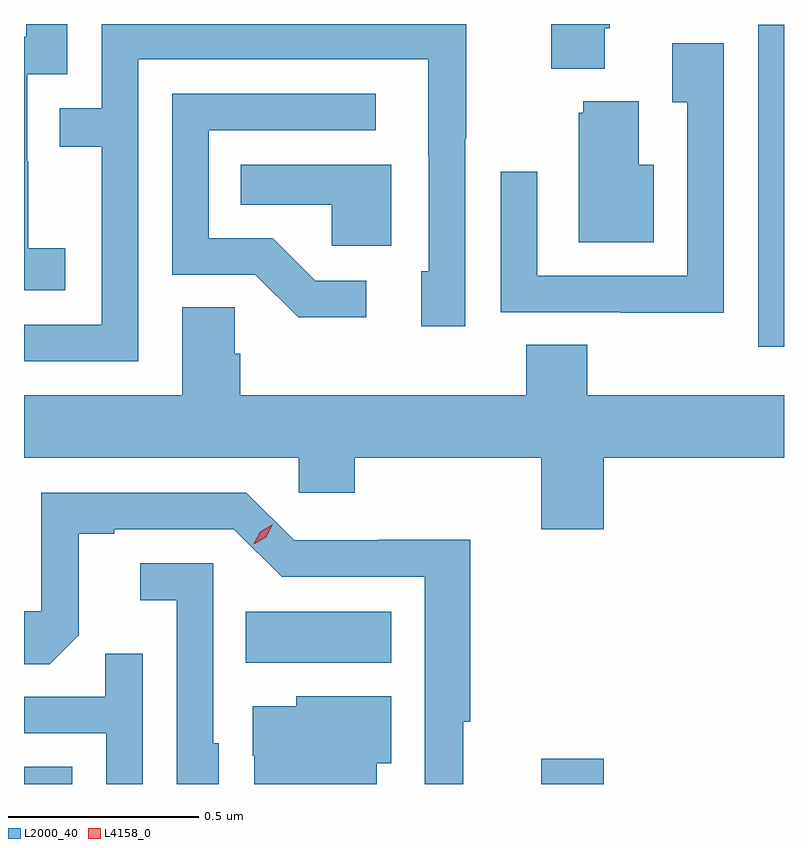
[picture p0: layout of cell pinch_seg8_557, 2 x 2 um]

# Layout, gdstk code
import gdstk
lib = gdstk.Library(unit=1e-6, precision=1e-09)
def R(c, l, rs):  # rectangles x0, y0, x1, y1
    for r in rs: c.add(gdstk.rectangle(r[:2], r[2:], *l))
def P(c, l, *ps):  # polygons
    for p in ps: c.add(gdstk.Polygon(p, *l))
L2000_40 = (2000, 40)
L4158_0 = (4158, 0)

pinch_seg8_557 = lib.new_cell('pinch_seg8_557')
R(pinch_seg8_557, L2000_40, [(115.695,1108.981,115.822,1109.026), (117.056,1108.981,117.22,1109.047), (116.278,1109.3,116.662,1109.434), (117.627,1110.132,117.695,1110.979)])
P(pinch_seg8_557, L2000_40, [(117.223,1110.97),(117.236,1110.97),(117.236,1110.981),(117.083,1110.981),(117.083,1110.863),(117.223,1110.863)],
  [(115.995,1110.888),(116.759,1110.888),(116.759,1110.634),(116.76,1110.634),(116.76,1110.33),(116.741,1110.33),(116.741,1110.186),(116.856,1110.186),(116.856,1110.679),(116.859,1110.679),(116.859,1110.981),(115.899,1110.981),(115.899,1110.759),(115.789,1110.759),(115.789,1110.658),(115.899,1110.658),(115.899,1110.189),(115.695,1110.189),(115.695,1110.093),(115.995,1110.093)],
  [(115.804,1110.391),(115.706,1110.391),(115.706,1110.62),(115.704,1110.62),(115.704,1110.849),(115.809,1110.849),(115.809,1110.981),(115.701,1110.981),(115.701,1110.948),(115.695,1110.948),(115.695,1110.281),(115.804,1110.281)],
  [(117.537,1110.931),(117.401,1110.931),(117.401,1110.775),(117.441,1110.775),(117.441,1110.318),(117.045,1110.318),(117.045,1110.592),(116.949,1110.592),(116.949,1110.222),(117.265,1110.222),(117.265,1110.221),(117.537,1110.221)],
  [(116.596,1110.306),(116.461,1110.306),(116.35,1110.417),(116.181,1110.417),(116.181,1110.702),(116.62,1110.702),(116.62,1110.798),(116.085,1110.798),(116.085,1110.321),(116.304,1110.321),(116.417,1110.209),(116.596,1110.209)],
  [(117.352,1110.61),(117.313,1110.61),(117.313,1110.778),(117.167,1110.778),(117.167,1110.747),(117.155,1110.747),(117.155,1110.407),(117.352,1110.407)],
  [(116.662,1110.61),(116.266,1110.61),(116.266,1110.506),(116.505,1110.506),(116.505,1110.398),(116.662,1110.398)],
  [(117.22,1109.84),(117.695,1109.84),(117.695,1110.004),(117.177,1110.004),(117.177,1110.137),(117.017,1110.137),(117.017,1110.004),(116.264,1110.004),(116.264,1110.113),(116.25,1110.113),(116.25,1110.236),(116.111,1110.236),(116.111,1110.004),(115.695,1110.004),(115.695,1109.84),(116.418,1109.84),(116.418,1109.747),(116.565,1109.747),(116.565,1109.84),(117.056,1109.84),(117.056,1109.652),(117.22,1109.652)],
  [(116.851,1109.145),(116.869,1109.145),(116.869,1109.624),(116.628,1109.624),(116.628,1109.622),(116.406,1109.622),(116.28,1109.748),(115.74,1109.748),(115.74,1109.436),(115.695,1109.436),(115.695,1109.296),(115.763,1109.296),(115.839,1109.372),(115.839,1109.64),(115.933,1109.64),(115.933,1109.652),(116.247,1109.652),(116.373,1109.526),(116.75,1109.526),(116.75,1108.981),(116.851,1108.981)],
  [(116.208,1109.088),(116.193,1109.088),(116.193,1109.562),(116.001,1109.562),(116.001,1109.465),(116.097,1109.465),(116.097,1108.981),(116.208,1108.981)],
  [(116.007,1109.324),(115.909,1109.324),(115.909,1109.211),(115.695,1109.211),(115.695,1109.115),(115.911,1109.115),(115.911,1108.981),(116.007,1108.981)],
  [(116.623,1109.036),(116.662,1109.036),(116.662,1109.212),(116.412,1109.212),(116.412,1109.185),(116.297,1109.185),(116.297,1109.056),(116.301,1109.056),(116.301,1108.981),(116.623,1108.981)])
P(pinch_seg8_557, L4158_0, [(116.299,1109.612),(116.299,1109.613),(116.317,1109.645),(116.349,1109.664),(116.349,1109.664),(116.349,1109.664),(116.332,1109.631),(116.3,1109.612)])

lib.write_gds('pinch_seg8_557.gds')
